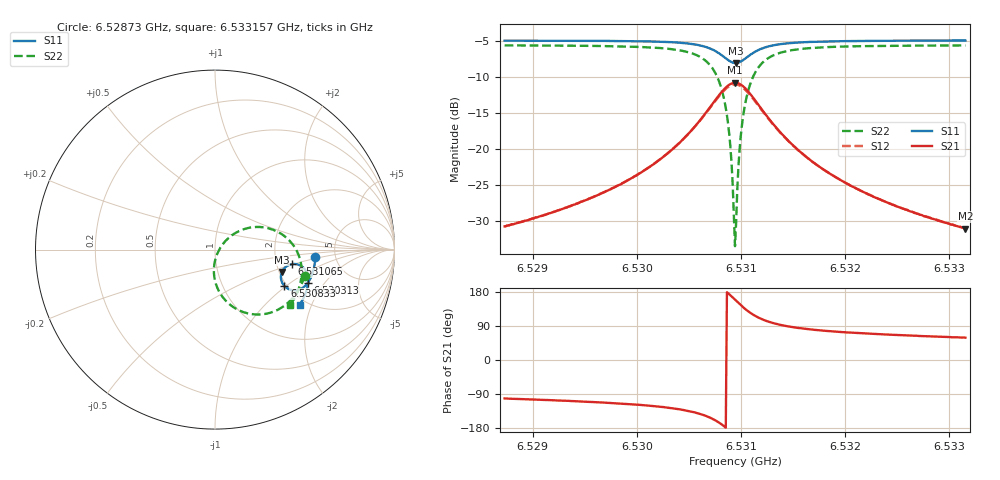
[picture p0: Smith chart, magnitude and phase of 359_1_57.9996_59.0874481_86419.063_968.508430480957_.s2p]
#  HZ  S  RI  R  50.00
! Rohde & Schwarz Vector Network Analyzer
! Rohde-Schwarz,ZNB20-2Port,1311601062101988,3.16
! Created: UTC 3/21/2024, 1:06:20 AM
! freq[Hz]  re:S11  im:S11  re:S21  im:S21  re:S12  im:S12  re:S22  im:S22
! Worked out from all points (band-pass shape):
!   401 points, 6.52873 GHz to 6.533157 GHz, reference 50 ohm
!   highest |S21| = -10.82 dB at 6.530944 GHz (marker M1); lowest = -31.0 dB at 6.533157 GHz (marker M2)
!   |S21| within 3 dB of the highest: 6.530724 GHz to 6.531166 GHz (442.1 kHz wide, 0.00677 % of centre)
!   lowest |S11| = -8.1 dB at 6.530955 GHz (marker M3), VSWR 2.30, Z = 103 - j30.6 ohm
!   |S11| at or under -10 dB: nowhere
!   |S22| runs from -33.4 to -5.7 dB; largest |S21 - S12| = 0.011
!   S11 on the Smith chart (normalised r, x): 6.52873 GHz: 3.50, -0.44; 6.530313 GHz: 2.60, -1.39; 6.530833 GHz: 1.94, -0.97; 6.531065 GHz: 2.42, -0.49; 6.533157 GHz: 1.82, -1.65
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6.5287302e9  0.5599 -0.0427  -0.00577 -0.0287  -0.00633 -0.0285  0.5002 -0.1459
6.5294717e9  0.5509 -0.1036  -0.0146 -0.0409  -0.0154 -0.0406  0.4717 -0.2131
6.5302132e9  0.5242 -0.1748  -0.0457 -0.0703  -0.0476 -0.0691  0.3956 -0.3061
6.5303128e9  0.5166 -0.1863  -0.0565 -0.077  -0.0587 -0.0755  0.3728 -0.3225
6.530512e9  0.4915 -0.2109  -0.0936 -0.0922  -0.0961 -0.0892  0.299 -0.3542
6.5306669e9  0.4541 -0.226  -0.1519 -0.0954  -0.1541 -0.0895  0.1908 -0.3572
6.5307665e9  0.4152 -0.2218  -0.212 -0.0722  -0.2117 -0.0638  0.0881 -0.3103
6.5308329e9  0.3865 -0.2023  -0.255 -0.0286  -0.2511 -0.0194  0.0211 -0.2299
6.5308661e9  0.3748 -0.1853  -0.271 0.00503  -0.2646 0.0136  -0.000286 -0.1714
6.5308882e9  0.3697 -0.1715  -0.2768 0.0312  -0.2692 0.0386  -0.00618 -0.1269
6.5309325e9  0.3684 -0.1405  -0.2733 0.0882  -0.2638 0.0926  0.00859 -0.0335
6.5309436e9  0.3702 -0.1328  -0.2689 0.1022  -0.2592 0.1057  0.0181 -0.0112
6.5309546e9  0.3727 -0.1254  -0.263 0.1157  -0.2534 0.1184  0.0297 0.0101
6.5309657e9  0.3762 -0.1181  -0.2559 0.1285  -0.2464 0.1304  0.0436 0.0301
6.5309989e9  0.3903 -0.0998  -0.2284 0.1614  -0.2196 0.1608  0.0938 0.0795
6.5310321e9  0.4084 -0.0873  -0.1948 0.1834  -0.1877 0.1815  0.1524 0.1108
6.5310653e9  0.4275 -0.0812  -0.1606 0.1952  -0.1549 0.1924  0.2114 0.1248
6.5311428e9  0.466 -0.0846  -0.0929 0.1934  -0.0899 0.1909  0.3256 0.1098
6.5312534e9  0.4986 -0.1071  -0.0356 0.1638  -0.0342 0.1624  0.4184 0.0461
6.531685e9  0.5199 -0.1828  0.014 0.0808  0.0148 0.0806  0.483 -0.1304
6.5324265e9  0.4996 -0.2555  0.0165 0.0387  0.0172 0.0385  0.4555 -0.2457
6.5331569e9  0.4713 -0.3089  0.0146 0.0242  0.015 0.024  0.4199 -0.3078
